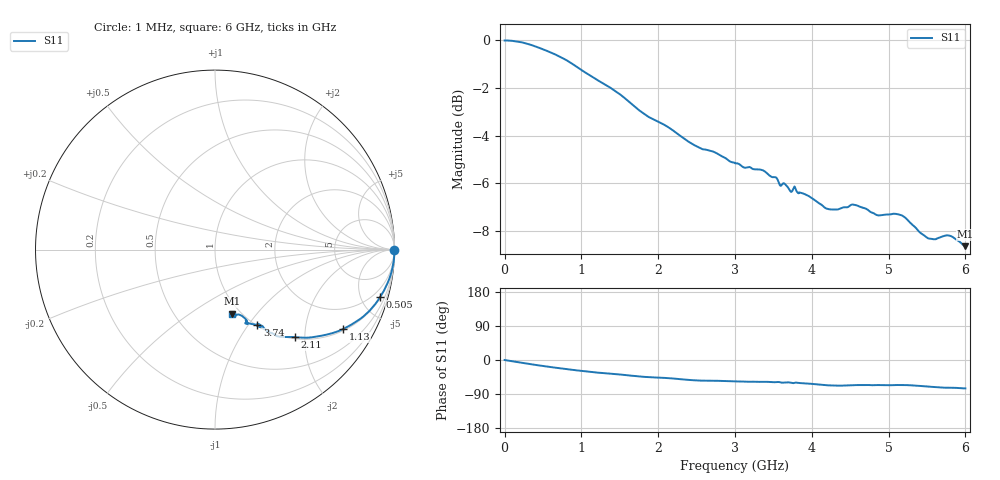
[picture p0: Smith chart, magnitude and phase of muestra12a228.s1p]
! COPPER MOUNTAIN TECHNOLOGIES, R60, 23103002, 24.3.3/3.0
! Date: 23/10/2026 12:29:37
! Data: Format [Calibration Info]
! Frequency		S11: Re/Im RO
# HZ S RI R 50
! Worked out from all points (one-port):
!   1280 points, 1 MHz to 6 GHz, reference 50 ohm
!   lowest |S11| = -8.6 dB at 6 GHz (marker M1), VSWR 2.17, Z = 45.6 - j37.8 ohm
!   |S11| at or under -10 dB: nowhere
!   S11 on the Smith chart (normalised r, x): 1 MHz: open; 505 MHz: 1.10, -6.95; 1.13 GHz: 1.06, -3.20; 2.11 GHz: 1.03, -1.79; 3.74 GHz: 1.01, -1.11; 6 GHz: 0.91, -0.76
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1000000  0.9999 -0.000338
2.3e8  0.982 -0.1293
5.05e8  0.9203 -0.2638
7.55e8  0.8477 -0.3539
9.45e8  0.7804 -0.4054
1.13e9  0.7151 -0.4418
1.505e9  0.6045 -0.4775
1.81e9  0.502 -0.4913
2.11e9  0.4457 -0.4874
2.255e9  0.4095 -0.4869
2.4e9  0.3718 -0.4865
2.53e9  0.3487 -0.4835
2.76e9  0.3338 -0.4742
3.005e9  0.3015 -0.4623
3.395e9  0.2842 -0.4472
3.74e9  0.2364 -0.4196
3.755e9  0.2354 -0.4256
3.8e9  0.2435 -0.4175
3.925e9  0.2244 -0.4179
4.215e9  0.1737 -0.4071
4.36e9  0.1681 -0.4098
4.505e9  0.1774 -0.4146
4.86e9  0.174 -0.3926
5.14e9  0.1756 -0.3934
5.255e9  0.1676 -0.3835
5.515e9  0.1309 -0.3611
5.79e9  0.1127 -0.3727
6e9  0.0954 -0.3574
